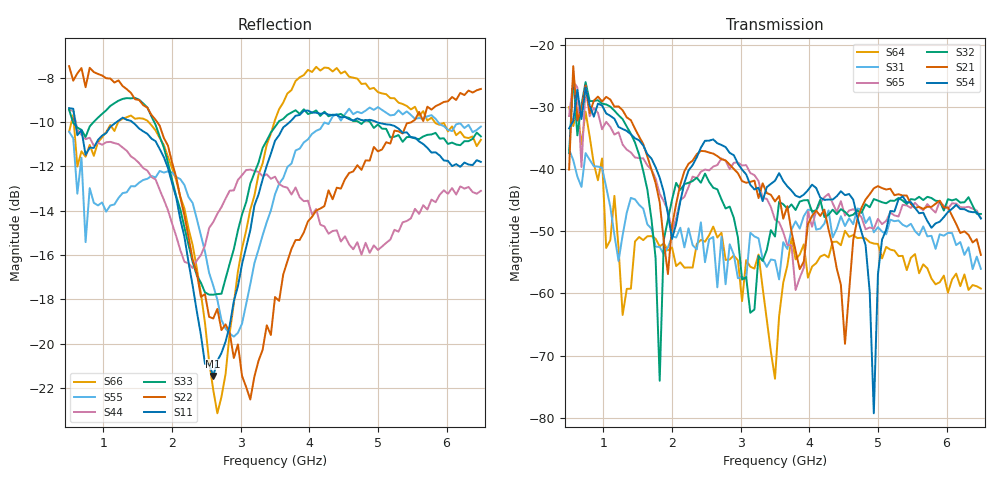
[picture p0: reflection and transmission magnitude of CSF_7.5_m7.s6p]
!Keysight Technologies,M9804A,MY58100912,A.14.10.03
!Date: Thursday, April 27, 2023 10:28:33
!Correction: S11(C  6-Port  )
!S12(C  6-Port  )
!S13(C  6-Port  )
!S14(C  6-Port  )
!S15(C  6-Port  )
!S16(C  6-Port  )
!S21(C  6-Port  )
!S22(C  6-Port  )
!S23(C  6-Port  )
!S24(C  6-Port  )
!S25(C  6-Port  )
!S26(C  6-Port  )
!S31(C  6-Port  )
!S32(C  6-Port  )
!S33(C  6-Port  )
!S34(C  6-Port  )
!S35(C  6-Port  )
!S36(C  6-Port  )
!S41(C  6-Port  )
!S42(C  6-Port  )
!S43(C  6-Port  )
!S44(C  6-Port  )
!S45(C  6-Port  )
!S46(C  6-Port  )
!S51(C  6-Port  )
!S52(C  6-Port  )
!S53(C  6-Port  )
!S54(C  6-Port  )
!S55(C  6-Port  )
!S56(C  6-Port  )
!S61(C  6-Port  )
!S62(C  6-Port  )
!S63(C  6-Port  )
!S64(C  6-Port  )
!S65(C  6-Port  )
!S66(C  6-Port  )
!S6P File: Measurement: :
# Hz S  RI  R 50
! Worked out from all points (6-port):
!   101 points, 500 MHz to 6.5 GHz, reference 50 ohm
!   strongest paths, dB at 500 MHz, 2 GHz, 3.5 GHz, 5 GHz, 6.5 GHz:
!     S54: -33.4, -51.2, -41.8, -56.9, -47.9
!     S21: -40.1, -49.1, -45.2, -42.7, -53.8
!     S32: -37.4, -44.9, -50.8, -45.0, -47.2
!     S65: -31.4, -50.0, -48.1, -48.0, -47.8
!     S31: -36.8, -50.8, -54.7, -49.3, -56.0
!     S64: -30.0, -52.6, -73.7, -52.0, -59.2
!   lowest |S11| = -21.5 dB at 2.6 GHz (marker M1), VSWR 1.18, Z = 42.5 + j2.23 ohm
!   |S11| at or under -10 dB: 589.8 MHz to 1.195 GHz (605.1 MHz wide, 67.8 % of centre); 1.419 GHz to 3.715 GHz (2.296 GHz wide, 89.4 % of centre); 4.976 GHz to end of sweep
